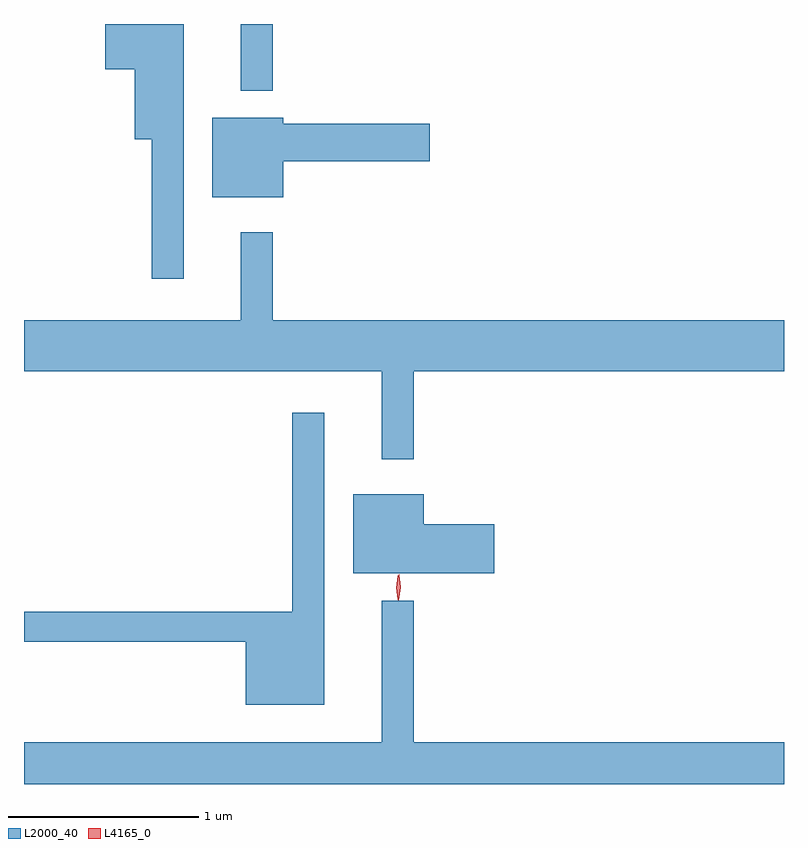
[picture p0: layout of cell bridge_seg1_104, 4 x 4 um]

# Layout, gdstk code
import gdstk
lib = gdstk.Library(unit=1e-6, precision=1e-09)
def R(c, l, rs):  # rectangles x0, y0, x1, y1
    for r in rs: c.add(gdstk.rectangle(r[:2], r[2:], *l))
def P(c, l, *ps):  # polygons
    for p in ps: c.add(gdstk.Polygon(p, *l))
L2000_40 = (2000, 40)
L4165_0 = (4165, 0)

bridge_seg1_104 = lib.new_cell('bridge_seg1_104')
R(bridge_seg1_104, L2000_40, [(1288.641,883.293,1288.809,883.643)])
P(bridge_seg1_104, L2000_40, [(1288.339,883.643),(1287.926,883.643),(1287.926,883.406),(1288.081,883.406),(1288.081,883.036),(1288.171,883.036),(1288.171,882.303),(1288.339,882.303)],
  [(1288.864,882.921),(1289.634,882.921),(1289.634,883.119),(1288.864,883.119),(1288.864,883.149),(1288.491,883.149),(1288.491,882.731),(1288.864,882.731)],
  [(1289.549,881.816),(1291.499,881.816),(1291.499,882.084),(1288.809,882.084),(1288.809,882.548),(1288.641,882.548),(1288.641,882.084),(1287.499,882.084),(1287.499,881.816),(1289.381,881.816),(1289.381,881.353),(1289.549,881.353)],
  [(1289.079,881.598),(1288.911,881.598),(1288.911,880.549),(1287.499,880.549),(1287.499,880.391),(1288.666,880.391),(1288.666,880.061),(1289.079,880.061)],
  [(1289.974,881.009),(1289.604,881.009),(1289.604,881.169),(1289.231,881.169),(1289.231,880.751),(1289.974,880.751)],
  [(1291.499,879.864),(1289.549,879.864),(1289.549,880.608),(1289.381,880.608),(1289.381,879.864),(1287.499,879.864),(1287.499,879.643),(1291.499,879.643)])
P(bridge_seg1_104, L4165_0, [(1289.47,880.61),(1289.462,880.678),(1289.472,880.745),(1289.473,880.746),(1289.473,880.745),(1289.482,880.678),(1289.472,880.61),(1289.471,880.61)],
  [(1289.468,880.613),(1289.467,880.614),(1289.458,880.676),(1289.467,880.739),(1289.468,880.74),(1289.468,880.739),(1289.478,880.676),(1289.468,880.614)])

lib.write_gds('bridge_seg1_104.gds')
